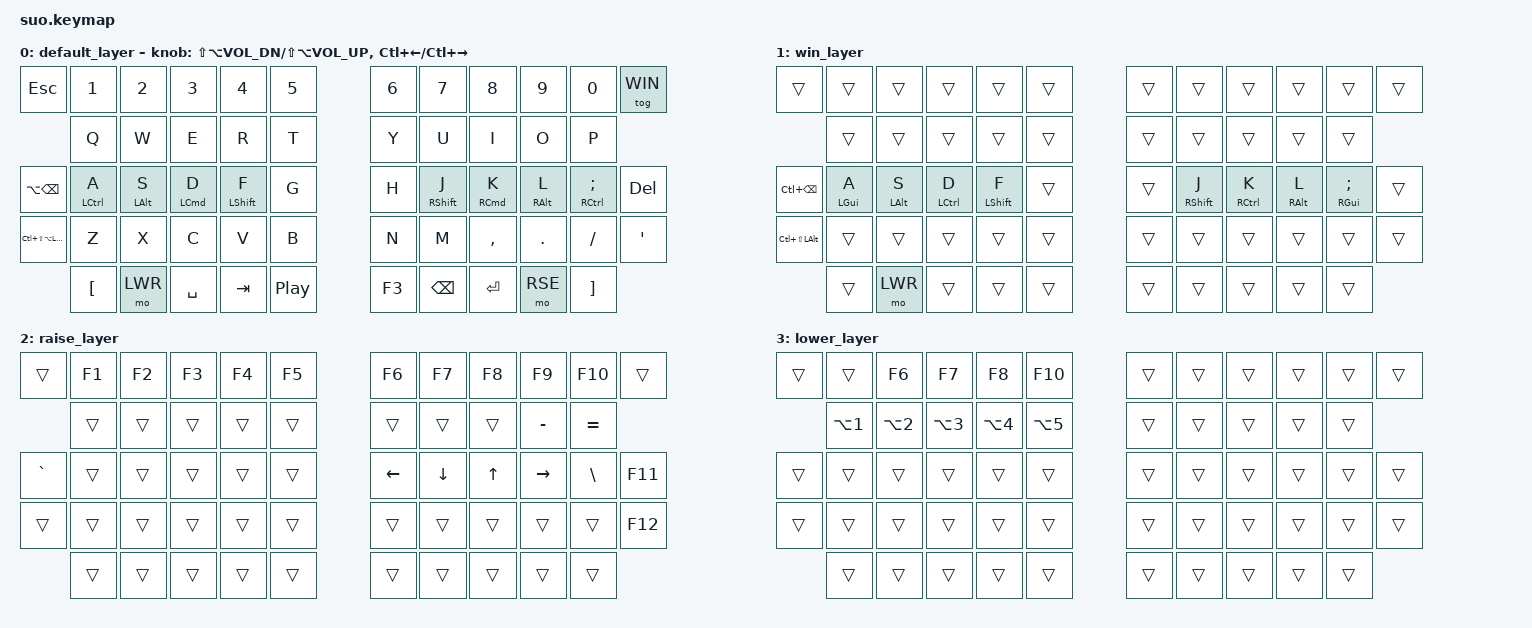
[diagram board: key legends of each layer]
#include <behaviors.dtsi>
#include <dt-bindings/zmk/keys.h>

#define WIN	1
#define RSE	2
#define LWR	3

&mt {
	tapping-term-ms = <150>;
	flavor = "balanced";
};

/ {

	combos {
		compatible = "zmk,combos";
		combo_caps {
			timeout-ms = <50>;
			key-positions = <49 52>;
			bindings = <&caps_word>;
		};
	};

	keymap {
		compatible = "zmk,keymap";

		default_layer { // Layer 0
			bindings = <
				&kp ESC	&kp N1	&kp N2	&kp N3	&kp N4	&kp N5			&kp N6	&kp N7	&kp N8	&kp N9	&kp N0	&tog WIN
						&kp Q	&kp W	&kp E	&kp R	&kp T			&kp Y	&kp U	&kp I	&kp O	&kp P
&kp LA(BSPC)	&mt LCTRL A	&mt LALT S	&mt LCMD D	&mt LSHFT F	&kp G		&kp H	&mt RSHFT J	&mt RCMD K	&mt RALT L	&mt RCTRL SEMI	&kp DEL
	   &kp LC(LS(LA(LGUI)))	&kp Z	&kp X	&kp C	&kp V	&kp B			&kp N	&kp M	&kp COMMA	&kp DOT	&kp SLASH	&kp APOS

						&kp LBKT	&mo LWR	&kp SPACE	&kp TAB		&kp C_PP	&kp F3		&kp BSPC	&kp RET	&mo RSE	&kp RBKT
			>;
			sensor-bindings =
				<&inc_dec_kp LS(LA(C_VOL_DN)) LS(LA(C_VOL_UP))>,
				<&inc_dec_kp LC(LEFT) LC(RIGHT)>;
		};

		win_layer { // Layer 1
			bindings = <
				&trans	&trans	&trans	&trans	&trans	&trans			&trans	&trans	&trans	&trans	&trans	&trans
						&trans	&trans	&trans	&trans	&trans			&trans	&trans	&trans	&trans	&trans
&kp LC(BSPC)	&mt LGUI A	&mt LALT S	&mt LCTRL D	&mt LSHFT F	&trans		&trans	&mt RSHFT J	&mt RCTRL K	&mt RALT L	&mt RGUI SEMI	&trans
	    &kp LC(LS(LALT))	&trans	&trans	&trans	&trans	&trans			&trans	&trans	&trans	&trans	&trans	&trans

						&trans	&mo LWR	&trans	&trans		&trans	&trans		&trans	&trans	&trans	&trans
			>;
		};

		raise_layer { // Layer 2
			bindings = <
				&trans	&kp F1	&kp F2	&kp F3	&kp F4	&kp F5			&kp F6	&kp F7	&kp F8	&kp F9	&kp F10	&trans
						&trans	&trans	&trans	&trans	&trans			&trans	&trans	&trans	&kp MINUS	&kp EQUAL
				&kp GRAVE	&trans	&trans	&trans	&trans	&trans			&kp LEFT	&kp DOWN	&kp UP	&kp RIGHT	&kp BSLH	&kp F11
				&trans	&trans	&trans	&trans	&trans	&trans			&trans	&trans	&trans	&trans	&trans	&kp F12

						&trans	&trans	&trans	&trans		&trans	&trans		&trans	&trans	&trans	&trans
			>;
		};

		lower_layer { // Layer 3
			bindings = <
				&trans	&trans	&kp F6	&kp F7	&kp F8	&kp F10			&trans	&trans	&trans	&trans	&trans	&trans
		&kp LA(N1)	&kp LA(N2)	&kp LA(N3)	&kp LA(N4)	&kp LA(N5)		&trans	&trans	&trans	&trans	&trans
				&trans	&trans	&trans	&trans	&trans	&trans			&trans	&trans	&trans	&trans	&trans	&trans
				&trans	&trans	&trans	&trans	&trans	&trans			&trans	&trans	&trans	&trans	&trans	&trans

						&trans	&trans	&trans	&trans		&trans	&trans		&trans	&trans	&trans	&trans
			>;
		};

		/*
		new_layer { // Layer 0
			bindings = <
				&trans	&trans	&trans	&trans	&trans	&trans			&trans	&trans	&trans	&trans	&trans	&trans
						&trans	&trans	&trans	&trans	&trans			&trans	&trans	&trans	&trans	&trans
				&trans	&trans	&trans	&trans	&trans	&trans			&trans	&trans	&trans	&trans	&trans	&trans
				&trans	&trans	&trans	&trans	&trans	&trans			&trans	&trans	&trans	&trans	&trans	&trans

						&trans	&trans	&trans	&trans		&trans	&trans		&trans	&trans	&trans	&trans
			>;
		};
		*/

	};
};
